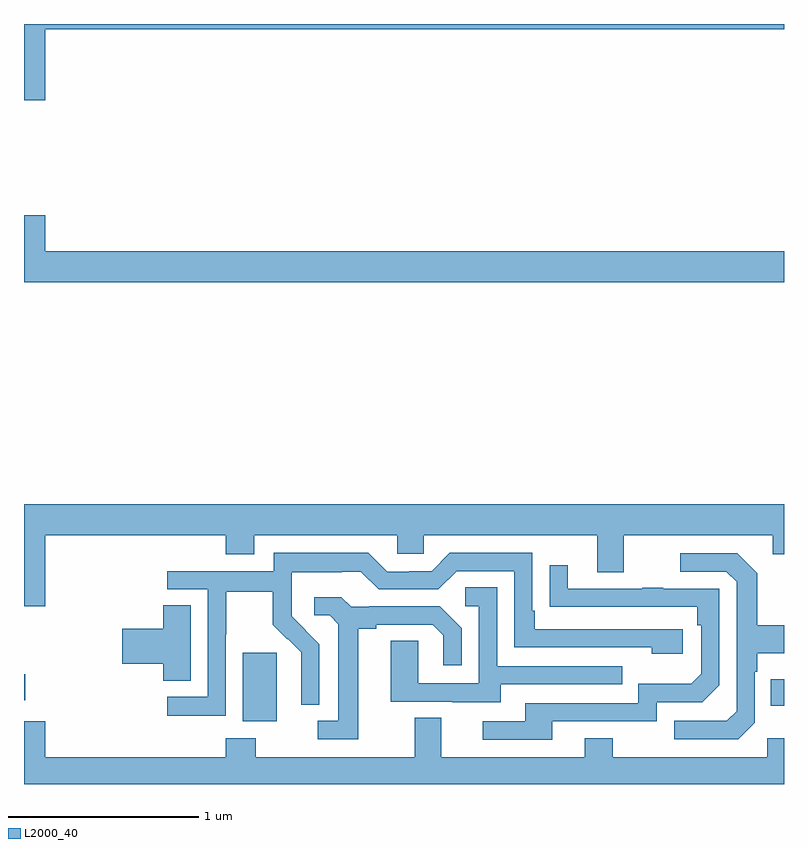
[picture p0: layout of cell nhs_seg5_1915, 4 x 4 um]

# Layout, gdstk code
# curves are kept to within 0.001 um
import gdstk
lib = gdstk.Library(unit=1e-6, precision=1e-09)
def R(c, l, rs):  # rectangles x0, y0, x1, y1
    for r in rs: c.add(gdstk.rectangle(r[:2], r[2:], *l))
def P(c, l, *ps):  # polygons
    for p in ps: c.add(gdstk.Polygon(p, *l))
L2000_40 = (2000, 40)

nhs_seg5_1915 = lib.new_cell('nhs_seg5_1915')
R(nhs_seg5_1915, L2000_40, [(226.151,841.13,226.33,841.491), (228.931,841.211,229,841.351), (225,841.241,225.007,841.376)])
P(nhs_seg5_1915, L2000_40, [(225.112,844.772),(229,844.772),(229,844.799),(225,844.799),(225,844.398),(225.112,844.398)],
  [(229,843.604),(225.112,843.604),(225.112,843.793),(225,843.793),(225,843.44),(229,843.44)],
  [(225.112,842.108),(226.061,842.108),(226.061,842.009),(226.213,842.009),(226.213,842.108),(226.965,842.108),(226.965,842.01),(227.103,842.01),(227.103,842.108),(228.017,842.108),(228.017,841.914),(228.157,841.914),(228.157,842.108),(228.941,842.108),(228.941,842.009),(229,842.009),(229,842.272),(225,842.272),(225,841.734),(225.112,841.734)],
  [(226.062,841.588),(226.065,841.588),(226.065,841.812),(226.309,841.812),(226.309,841.637),(226.386,841.56),(226.389,841.563),(226.46,841.493),(226.46,841.37),(226.458,841.37),(226.458,841.216),(226.554,841.216),(226.554,841.534),(226.408,841.682),(226.408,841.779),(226.41,841.779),(226.41,841.913),(226.673,841.913),(226.673,841.917),(226.773,841.917),(226.866,841.824),(227.181,841.824),(227.277,841.92),(227.58,841.92),(227.58,841.518),(228.305,841.518),(228.305,841.484),(228.466,841.484),(228.466,841.614),(227.689,841.614),(227.689,841.711),(227.676,841.711),(227.676,842.016),(227.241,842.016),(227.145,841.92),(227.027,841.92),(227.027,841.917),(226.911,841.917),(226.811,842.017),(226.314,842.017),(226.314,841.92),(225.753,841.92),(225.753,841.824),(225.966,841.824),(225.966,841.257),(225.753,841.257),(225.753,841.159),(226.062,841.159)],
  [(228.846,841.122),(228.846,841.391),(228.859,841.391),(228.859,841.487),(229,841.487),(229,841.635),(228.859,841.635),(228.859,841.907),(228.753,842.013),(228.453,842.013),(228.453,841.917),(228.696,841.917),(228.75,841.863),(228.75,841.182),(228.699,841.131),(228.423,841.131),(228.423,841.035),(228.759,841.035)],
  [(227.779,841.128),(228.33,841.128),(228.33,841.23),(228.57,841.23),(228.66,841.32),(228.66,841.827),(228.365,841.827),(228.365,841.832),(228.253,841.832),(228.253,841.827),(227.863,841.827),(227.863,841.951),(227.767,841.951),(227.767,841.732),(228.544,841.731),(228.544,841.634),(228.564,841.634),(228.564,841.38),(228.511,841.327),(228.234,841.327),(228.234,841.224),(227.639,841.224),(227.639,841.128),(227.415,841.128),(227.415,841.032),(227.779,841.032)],
  [(227.509,841.323),(228.149,841.323),(228.149,841.419),(227.49,841.419),(227.49,841.835),(227.322,841.835),(227.322,841.734),(227.394,841.734),(227.394,841.329),(227.076,841.329),(227.076,841.553),(226.931,841.553),(226.931,841.233),(227.255,841.233),(227.255,841.229),(227.509,841.229)],
  [(226.759,841.616),(226.855,841.616),(226.855,841.638),(227.15,841.638),(227.207,841.581),(227.207,841.425),(227.304,841.425),(227.304,841.618),(227.188,841.734),(226.816,841.734),(226.816,841.731),(226.722,841.731),(226.67,841.783),(226.527,841.783),(226.527,841.686),(226.608,841.686),(226.655,841.639),(226.655,841.131),(226.545,841.131),(226.545,841.035),(226.759,841.035)],
  [(225.877,841.739),(225.734,841.739),(225.734,841.616),(225.516,841.616),(225.516,841.433),(225.734,841.433),(225.734,841.342),(225.877,841.342)],
  [(229,841.039),(228.912,841.039),(228.912,840.94),(228.099,840.94),(228.099,841.039),(227.951,841.039),(227.951,840.94),(227.197,840.94),(227.197,841.148),(227.057,841.148),(227.057,840.94),(226.221,840.94),(226.221,841.039),(226.061,841.039),(226.061,840.94),(225.112,840.94),(225.112,841.129),(225,841.129),(225,840.799),(229,840.799)])

lib.write_gds('nhs_seg5_1915.gds')
